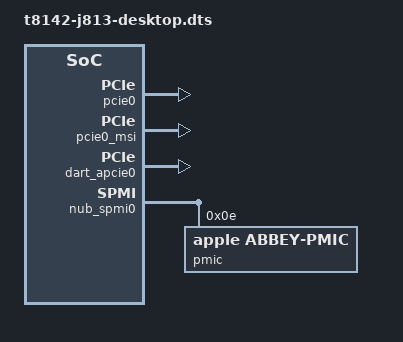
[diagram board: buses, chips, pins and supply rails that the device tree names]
// SPDX-License-Identifier: GPL-2.0+ OR MIT
/*
 * Apple MacBook Air (13-inch, M5) J813: the NVMe tree plus SMC power off /
 * restart and the watchdog, for a Debian desktop.
 */

#include "t8142-j813-nvme.dts"

/*
 * N1 Wi-Fi/Bluetooth on apcie port 0. The bootloader trains the link (AUS5
 * PHY, refclk buffer, N1 reset, port; see the m5air FINDINGS); Linux uses the
 * root port as a generic ECAM host and owns the DART and the endpoint.
 * Ranges and the DART IRQ from the J813 ADT, as in t8142-j813-wifi.dts.
 */
&{/} {
	pcie0: pcie@1cb0000000 {
		compatible = "pci-host-ecam-generic";
		device_type = "pci";
		#address-cells = <3>;
		#size-cells = <2>;
		bus-range = <0 1>;
		reg = <0x1c 0xb0000000 0 0x200000>;
		ranges = <0x43000000 0xb 0xc0000000 0xb 0xc0000000 0 0x20000000>,
			 <0x02000000 0 0x80000000 0xb 0x80000000 0 0x40000000>;
		dma-coherent;
		msi-parent = <&pcie0_msi>;
		/* N1's three ADT mapper nodes use stream zero. */
		iommu-map = <0x100 &dart_apcie0 0 1>,
			    <0x101 &dart_apcie0 0 1>,
			    <0x102 &dart_apcie0 0 1>;
	};
};

&{/soc} {
	/*
	 * Port 0's MSI map (ADT apcie reg[8]). ADT msi-address 0xfffff000,
	 * msi-vector-offset 1741, #msi-vectors 96 for three ports: port 0
	 * owns the first 32.
	 */
	pcie0_msi: msi-controller@488028000 {
		compatible = "apple,t8142-pcie-msi";
		reg = <4 0x88028000 0 0x8000>;
		msi-controller;
		msi-ranges = <&aic AIC_IRQ 1741 IRQ_TYPE_EDGE_RISING 32>;
	};

	dart_apcie0: iommu@488000000 {
		compatible = "apple,t8142-dart", "apple,t8110-dart";
		reg = <4 0x88000000 0 0x20000>;
		interrupt-parent = <&aic>;
		interrupts = <AIC_IRQ 1463 IRQ_TYPE_LEVEL_HIGH>;
		#iommu-cells = <1>;
	};
};

&{/soc} {
	/* ADT /arm-io/wdt (wdt,t8142): restart (and the SMC's fallback). */
	wdt: watchdog@3882b0000 {
		compatible = "apple,t8142-wdt", "apple,t8103-wdt";
		reg = <0x3 0x882b0000 0x0 0x4000>;
		clocks = <&clkref>;
		interrupt-parent = <&aic>;
		interrupts = <AIC_IRQ 361 IRQ_TYPE_LEVEL_HIGH>;
	};
};

&{/soc} {
	/*
	 * ADT /arm-io/nub-spmi0 (gen 4) and its primary PMU, pmu-main
	 * ("abbey", slave 0xe). The boot flags live in the legacy scratchpad
	 * (info-leg_scrpad = 0xf800), laid out as on T8103 and J873.
	 */
	nub_spmi0: spmi@388714000 {
		compatible = "apple,t8142-spmi";
		reg = <0x3 0x88714000 0x0 0x4000>;
		#address-cells = <2>;
		#size-cells = <0>;

		pmic@e {
			compatible = "apple,abbey-pmic", "apple,spmi-nvmem";
			reg = <0xe SPMI_USID>;

			nvmem-layout {
				compatible = "fixed-layout";
				#address-cells = <1>;
				#size-cells = <1>;

				boot_stage: boot-stage@f801 {
					reg = <0xf801 0x1>;
				};

				boot_error_count: boot-error-count@f802,0 {
					reg = <0xf802 0x1>;
					bits = <0 4>;
				};

				panic_count: panic-count@f802,4 {
					reg = <0xf802 0x1>;
					bits = <4 4>;
				};

				/* Set before off1, or the machine powers back on. */
				shutdown_flag: shutdown-flag@f80f,3 {
					reg = <0xf80f 0x1>;
					bits = <3 1>;
				};
			};
		};
	};
};

&smc {
	/* Power off (MBSE = off1) and restart (MBSE = phra). */
	reboot {
		compatible = "apple,smc-reboot";
		nvmem-cells = <&shutdown_flag>, <&boot_stage>,
			      <&boot_error_count>, <&panic_count>;
		nvmem-cell-names = "shutdown_flag", "boot_stage",
				   "boot_error_count", "panic_count";
	};
};
